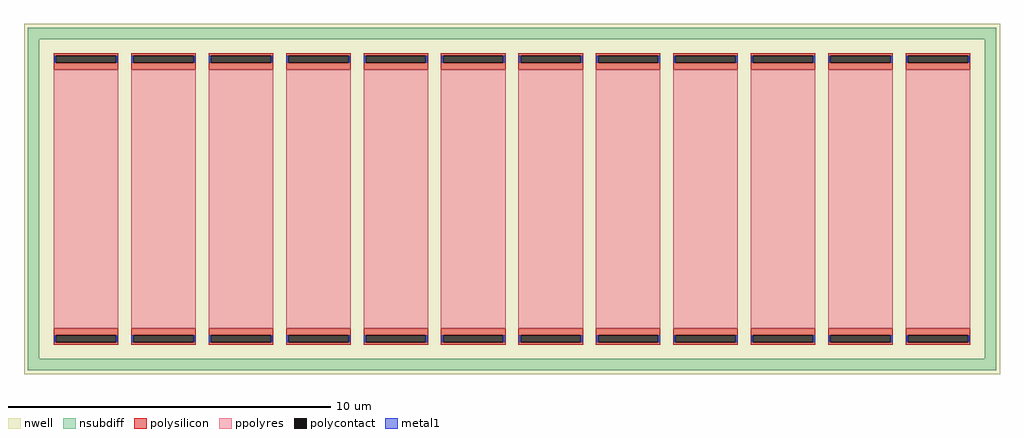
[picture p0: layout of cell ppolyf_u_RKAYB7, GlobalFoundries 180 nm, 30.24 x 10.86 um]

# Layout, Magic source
magic
tech gf180mcuC
magscale 1 10
<< nwell >>
rect -3024 -1086 3024 1086
<< nsubdiff >>
rect -3000 990 3000 1062
rect -3000 -990 -2928 990
rect 2928 -990 3000 990
rect -3000 -1062 3000 -990
<< polysilicon >>
rect -2840 889 -2440 902
rect -2840 843 -2827 889
rect -2453 843 -2440 889
rect -2840 800 -2440 843
rect -2840 -843 -2440 -800
rect -2840 -889 -2827 -843
rect -2453 -889 -2440 -843
rect -2840 -902 -2440 -889
rect -2360 889 -1960 902
rect -2360 843 -2347 889
rect -1973 843 -1960 889
rect -2360 800 -1960 843
rect -2360 -843 -1960 -800
rect -2360 -889 -2347 -843
rect -1973 -889 -1960 -843
rect -2360 -902 -1960 -889
rect -1880 889 -1480 902
rect -1880 843 -1867 889
rect -1493 843 -1480 889
rect -1880 800 -1480 843
rect -1880 -843 -1480 -800
rect -1880 -889 -1867 -843
rect -1493 -889 -1480 -843
rect -1880 -902 -1480 -889
rect -1400 889 -1000 902
rect -1400 843 -1387 889
rect -1013 843 -1000 889
rect -1400 800 -1000 843
rect -1400 -843 -1000 -800
rect -1400 -889 -1387 -843
rect -1013 -889 -1000 -843
rect -1400 -902 -1000 -889
rect -920 889 -520 902
rect -920 843 -907 889
rect -533 843 -520 889
rect -920 800 -520 843
rect -920 -843 -520 -800
rect -920 -889 -907 -843
rect -533 -889 -520 -843
rect -920 -902 -520 -889
rect -440 889 -40 902
rect -440 843 -427 889
rect -53 843 -40 889
rect -440 800 -40 843
rect -440 -843 -40 -800
rect -440 -889 -427 -843
rect -53 -889 -40 -843
rect -440 -902 -40 -889
rect 40 889 440 902
rect 40 843 53 889
rect 427 843 440 889
rect 40 800 440 843
rect 40 -843 440 -800
rect 40 -889 53 -843
rect 427 -889 440 -843
rect 40 -902 440 -889
rect 520 889 920 902
rect 520 843 533 889
rect 907 843 920 889
rect 520 800 920 843
rect 520 -843 920 -800
rect 520 -889 533 -843
rect 907 -889 920 -843
rect 520 -902 920 -889
rect 1000 889 1400 902
rect 1000 843 1013 889
rect 1387 843 1400 889
rect 1000 800 1400 843
rect 1000 -843 1400 -800
rect 1000 -889 1013 -843
rect 1387 -889 1400 -843
rect 1000 -902 1400 -889
rect 1480 889 1880 902
rect 1480 843 1493 889
rect 1867 843 1880 889
rect 1480 800 1880 843
rect 1480 -843 1880 -800
rect 1480 -889 1493 -843
rect 1867 -889 1880 -843
rect 1480 -902 1880 -889
rect 1960 889 2360 902
rect 1960 843 1973 889
rect 2347 843 2360 889
rect 1960 800 2360 843
rect 1960 -843 2360 -800
rect 1960 -889 1973 -843
rect 2347 -889 2360 -843
rect 1960 -902 2360 -889
rect 2440 889 2840 902
rect 2440 843 2453 889
rect 2827 843 2840 889
rect 2440 800 2840 843
rect 2440 -843 2840 -800
rect 2440 -889 2453 -843
rect 2827 -889 2840 -843
rect 2440 -902 2840 -889
<< polycontact >>
rect -2827 843 -2453 889
rect -2827 -889 -2453 -843
rect -2347 843 -1973 889
rect -2347 -889 -1973 -843
rect -1867 843 -1493 889
rect -1867 -889 -1493 -843
rect -1387 843 -1013 889
rect -1387 -889 -1013 -843
rect -907 843 -533 889
rect -907 -889 -533 -843
rect -427 843 -53 889
rect -427 -889 -53 -843
rect 53 843 427 889
rect 53 -889 427 -843
rect 533 843 907 889
rect 533 -889 907 -843
rect 1013 843 1387 889
rect 1013 -889 1387 -843
rect 1493 843 1867 889
rect 1493 -889 1867 -843
rect 1973 843 2347 889
rect 1973 -889 2347 -843
rect 2453 843 2827 889
rect 2453 -889 2827 -843
<< ppolyres >>
rect -2840 -800 -2440 800
rect -2360 -800 -1960 800
rect -1880 -800 -1480 800
rect -1400 -800 -1000 800
rect -920 -800 -520 800
rect -440 -800 -40 800
rect 40 -800 440 800
rect 520 -800 920 800
rect 1000 -800 1400 800
rect 1480 -800 1880 800
rect 1960 -800 2360 800
rect 2440 -800 2840 800
<< metal1 >>
rect -2838 843 -2827 889
rect -2453 843 -2442 889
rect -2358 843 -2347 889
rect -1973 843 -1962 889
rect -1878 843 -1867 889
rect -1493 843 -1482 889
rect -1398 843 -1387 889
rect -1013 843 -1002 889
rect -918 843 -907 889
rect -533 843 -522 889
rect -438 843 -427 889
rect -53 843 -42 889
rect 42 843 53 889
rect 427 843 438 889
rect 522 843 533 889
rect 907 843 918 889
rect 1002 843 1013 889
rect 1387 843 1398 889
rect 1482 843 1493 889
rect 1867 843 1878 889
rect 1962 843 1973 889
rect 2347 843 2358 889
rect 2442 843 2453 889
rect 2827 843 2838 889
rect -2838 -889 -2827 -843
rect -2453 -889 -2442 -843
rect -2358 -889 -2347 -843
rect -1973 -889 -1962 -843
rect -1878 -889 -1867 -843
rect -1493 -889 -1482 -843
rect -1398 -889 -1387 -843
rect -1013 -889 -1002 -843
rect -918 -889 -907 -843
rect -533 -889 -522 -843
rect -438 -889 -427 -843
rect -53 -889 -42 -843
rect 42 -889 53 -843
rect 427 -889 438 -843
rect 522 -889 533 -843
rect 907 -889 918 -843
rect 1002 -889 1013 -843
rect 1387 -889 1398 -843
rect 1482 -889 1493 -843
rect 1867 -889 1878 -843
rect 1962 -889 1973 -843
rect 2347 -889 2358 -843
rect 2442 -889 2453 -843
rect 2827 -889 2838 -843
<< properties >>
string FIXED_BBOX -2964 -1026 2964 1026
string gencell ppolyf_u
string library gf180mcu
string parameters w 2.0 l 8.0 m 1 nx 12 wmin 0.80 lmin 1.00 rho 315 val 1.305k dummy 0 dw 0.07 term 0.0 sterm 0.0 caplen 0.4 snake 0 glc 0 grc 0 gtc 0 gbc 0 roverlap 0 endcov 100 full_metal 0
<< end >>
